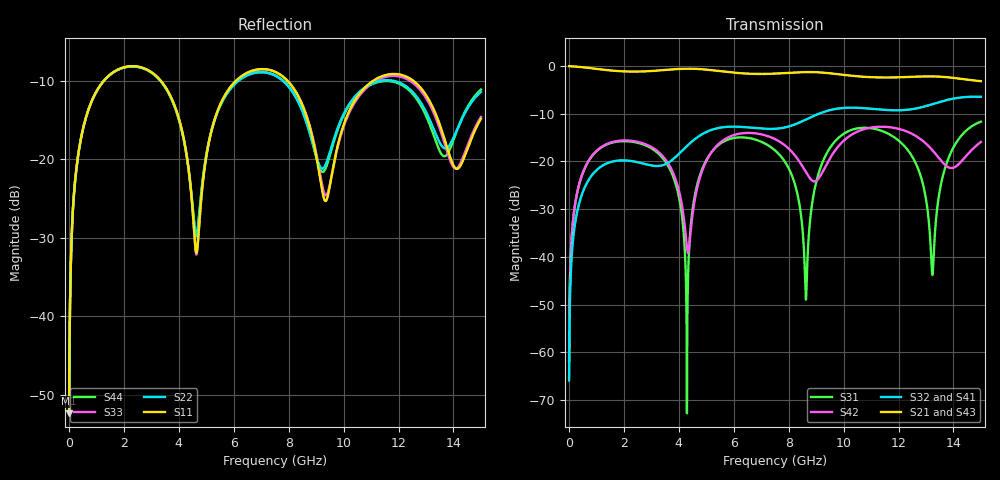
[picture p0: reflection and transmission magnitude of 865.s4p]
! Created with skrf 1.8.0 (http://scikit-rf.org).
# GHz S RI R 50.0
!freq ReS11 ImS11 ReS12 ImS12 ReS13 ImS13
! ReS14 ImS14
! ReS21 ImS21 ReS22 ImS22 ReS23 ImS23
! ReS24 ImS24
! ReS31 ImS31 ReS32 ImS32 ReS33 ImS33
! ReS34 ImS34
! ReS41 ImS41 ReS42 ImS42 ReS43 ImS43
! ReS44 ImS44
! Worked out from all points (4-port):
!   2499 points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, 5 MHz to 15 GHz, reference 50 ohm
!   strongest paths, dB at 5 MHz, 3.476 GHz, 7.19 GHz, 11.1 GHz, 15 GHz:
!     S21: 0.0, -0.8, -1.6, -2.3, -3.2
!     S43: 0.0, -0.8, -1.6, -2.3, -3.2
!     S32: -65.9, -20.7, -13.2, -9.0, -6.4
!     S41: -65.9, -20.7, -13.2, -9.0, -6.5
!     S42: -61.8, -19.3, -14.6, -12.8, -15.9
!     S31: -61.8, -19.7, -16.4, -13.1, -11.7
!   lowest |S11| = -52.3 dB at 5 MHz (marker M1), VSWR 1.00, Z = 50.2 + j0.147 ohm
!   |S11| at or under -10 dB: 3.335 GHz to 6.091 GHz (2.756 GHz wide, 58.5 % of centre); 7.948 GHz to 11.09 GHz (3.142 GHz wide, 33 % of centre); 12.53 GHz to end of sweep (the widest 3 of 4)
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0.005  0.00193 0.00146  0.998 -0.00375  9.92e-05 0.000804  -9.61e-05 -0.000499
       0.998 -0.00375  0.00193 0.00146  -9.61e-05 -0.000499  9.93e-05 0.000804
       9.92e-05 0.000804  -9.61e-05 -0.000499  0.00193 0.00146  0.998 -0.00375
       -9.61e-05 -0.000499  9.93e-05 0.000804  0.998 -0.00375  0.00193 0.00146
1.369321  0.2819 0.1703  0.523 -0.7426  0.1359 0.0647  -0.0951 -0.0016
          0.523 -0.7426  0.2801 0.1716  -0.0953 -0.00145  0.1406 0.058
          0.1359 0.0647  -0.0953 -0.00145  0.2818 0.1703  0.5231 -0.7426
          -0.0951 -0.0016  0.1406 0.058  0.5231 -0.7426  0.2802 0.1715
4.293636  0.0457 -0.0933  -0.8902 -0.2997  0.000273 -0.00027  -0.0427 0.1386
          -0.8902 -0.2997  0.0526 -0.0888  -0.0408 0.1392  -0.0108 -0.00668
          0.000273 -0.00027  -0.0408 0.1392  0.0453 -0.0927  -0.8903 -0.2996
          -0.0427 0.1386  -0.0108 -0.00668  -0.8903 -0.2996  0.0525 -0.088
5.314714  0.1128 0.1415  -0.8267 0.3493  0.091 0.1036  0.1111 0.1893
          -0.8267 0.3493  0.1148 0.1373  0.1138 0.1883  0.1016 0.0952
          0.091 0.1036  0.1138 0.1883  0.1119 0.1425  -0.8266 0.3492
          0.1111 0.1893  0.1016 0.0952  -0.8266 0.3492  0.1164 0.138
9.36015  0.0543 -0.00132  0.8419 0.1047  0.0294 0.1141  0.0368 -0.335
         0.8419 0.1047  0.0907 0.0224  0.0273 -0.3354  -0.0198 0.0888
         0.0294 0.1141  0.0273 -0.3354  0.0586 -0.00503  0.8418 0.1072
         0.0368 -0.335  -0.0198 0.0888  0.8418 0.1072  0.0863 0.0198
13.23677  0.1607 -0.1439  -0.5533 -0.549  0.00615 0.00202  -0.2781 0.285
          -0.5533 -0.549  0.1462 -0.0702  -0.2659 0.2976  -0.0788 -0.1048
          0.00615 0.00202  -0.2659 0.2976  0.1562 -0.1328  -0.555 -0.5507
          -0.2781 0.285  -0.0788 -0.1048  -0.555 -0.5507  0.1331 -0.0673
15  0.1627 0.0786  -0.6417 0.2672  0.2351 0.1142  0.2327 0.414
    -0.6417 0.2672  0.2527 0.089  0.251 0.4053  0.134 0.0878
    0.2351 0.1142  0.251 0.4053  0.1651 0.0844  -0.6404 0.2651
    0.2327 0.414  0.134 0.0878  -0.6404 0.2651  0.2561 0.1048
